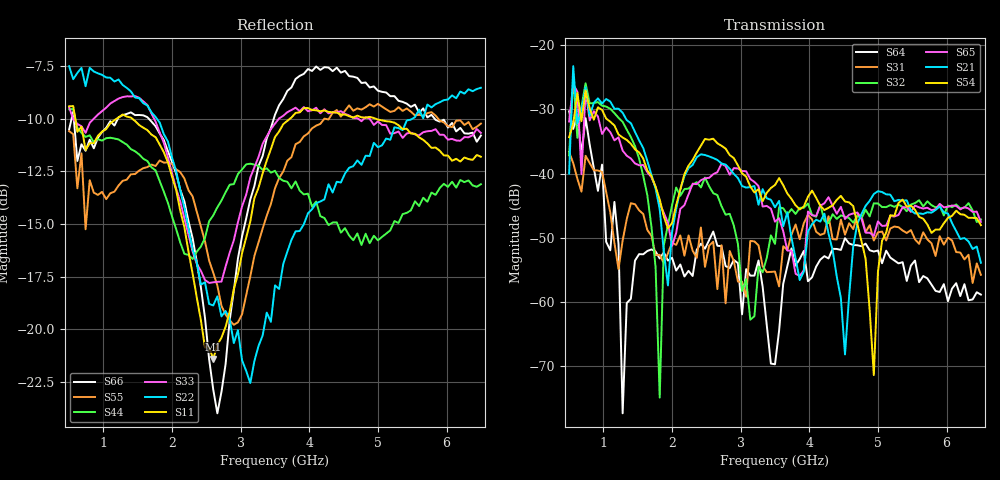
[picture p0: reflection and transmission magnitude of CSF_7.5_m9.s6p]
!Keysight Technologies,M9804A,MY58100912,A.14.10.03
!Date: Thursday, April 27, 2023 10:28:33
!Correction: S11(C  6-Port  )
!S12(C  6-Port  )
!S13(C  6-Port  )
!S14(C  6-Port  )
!S15(C  6-Port  )
!S16(C  6-Port  )
!S21(C  6-Port  )
!S22(C  6-Port  )
!S23(C  6-Port  )
!S24(C  6-Port  )
!S25(C  6-Port  )
!S26(C  6-Port  )
!S31(C  6-Port  )
!S32(C  6-Port  )
!S33(C  6-Port  )
!S34(C  6-Port  )
!S35(C  6-Port  )
!S36(C  6-Port  )
!S41(C  6-Port  )
!S42(C  6-Port  )
!S43(C  6-Port  )
!S44(C  6-Port  )
!S45(C  6-Port  )
!S46(C  6-Port  )
!S51(C  6-Port  )
!S52(C  6-Port  )
!S53(C  6-Port  )
!S54(C  6-Port  )
!S55(C  6-Port  )
!S56(C  6-Port  )
!S61(C  6-Port  )
!S62(C  6-Port  )
!S63(C  6-Port  )
!S64(C  6-Port  )
!S65(C  6-Port  )
!S66(C  6-Port  )
!S6P File: Measurement: :
# Hz S  RI  R 50
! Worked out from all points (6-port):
!   101 points, 500 MHz to 6.5 GHz, reference 50 ohm
!   strongest paths, dB at 500 MHz, 2 GHz, 3.5 GHz, 5 GHz, 6.5 GHz:
!     S54: -34.3, -47.7, -41.8, -55.3, -48.0
!     S21: -40.0, -49.1, -45.2, -42.8, -53.9
!     S65: -31.9, -51.3, -47.5, -47.4, -47.5
!     S32: -37.2, -44.9, -50.9, -44.7, -47.2
!     S31: -36.6, -50.8, -55.2, -49.1, -55.8
!     S64: -30.3, -53.1, -69.7, -52.0, -58.8
!   lowest |S11| = -21.4 dB at 2.6 GHz (marker M1), VSWR 1.19, Z = 42.5 + j2.24 ohm
!   |S11| at or under -10 dB: 589.9 MHz to 1.189 GHz (598.8 MHz wide, 67.3 % of centre); 1.424 GHz to 3.715 GHz (2.291 GHz wide, 89.2 % of centre); 4.975 GHz to end of sweep
